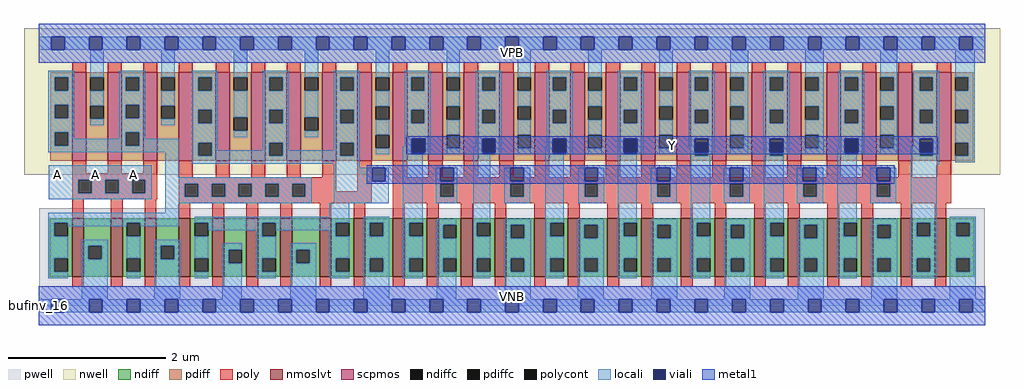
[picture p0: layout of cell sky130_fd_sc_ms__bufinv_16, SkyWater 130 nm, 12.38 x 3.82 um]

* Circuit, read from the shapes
.subckt sky130_fd_sc_ms__bufinv_16 A VGND VNB VPB VPWR Y
XM1 VGND A n1 VNB sky130_fd_pr__nfet_01v8_lvt w=0.74 l=0.15 m=3
XM2 n2 n1 VGND VNB sky130_fd_pr__nfet_01v8_lvt w=0.74 l=0.15 m=6
XM3 Y n2 VGND VNB sky130_fd_pr__nfet_01v8_lvt w=0.74 l=0.15 m=16
XM4 VPWR A n1 VPB sky130_fd_pr__pfet_01v8 w=1.12 l=0.18 m=3
XM5 n2 n1 VPWR VPB sky130_fd_pr__pfet_01v8 w=1.12 l=0.18 m=6
XM6 Y n2 VPWR VPB sky130_fd_pr__pfet_01v8 w=1.12 l=0.18 m=16
.ends

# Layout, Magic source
magic
tech sky130A
magscale 1 2
<< nwell >>
rect -38 332 2438 704
<< pwell >>
rect 1 49 2399 248
rect 0 0 2400 49
<< scpmos >>
rect 84 368 120 592
rect 174 368 210 592
rect 264 368 300 592
rect 354 368 390 592
rect 448 368 484 592
rect 538 368 574 592
rect 628 368 664 592
rect 718 368 754 592
rect 808 368 844 592
rect 898 368 934 592
rect 988 368 1024 592
rect 1078 368 1114 592
rect 1168 368 1204 592
rect 1258 368 1294 592
rect 1348 368 1384 592
rect 1438 368 1474 592
rect 1528 368 1564 592
rect 1618 368 1654 592
rect 1708 368 1744 592
rect 1808 368 1844 592
rect 1898 368 1934 592
rect 1998 368 2034 592
rect 2088 368 2124 592
rect 2180 368 2216 592
rect 2278 368 2314 592
<< nmoslvt >>
rect 84 74 114 222
rect 182 74 212 222
rect 268 74 298 222
rect 354 74 384 222
rect 440 74 470 222
rect 526 74 556 222
rect 612 74 642 222
rect 712 74 742 222
rect 798 74 828 222
rect 898 74 928 222
rect 984 74 1014 222
rect 1070 74 1100 222
rect 1156 74 1186 222
rect 1256 74 1286 222
rect 1342 74 1372 222
rect 1442 74 1472 222
rect 1528 74 1558 222
rect 1628 74 1658 222
rect 1714 74 1744 222
rect 1814 74 1844 222
rect 1900 74 1930 222
rect 2000 74 2030 222
rect 2086 74 2116 222
rect 2186 74 2216 222
rect 2272 74 2302 222
<< ndiff >>
rect 27 210 84 222
rect 27 176 39 210
rect 73 176 84 210
rect 27 120 84 176
rect 27 86 39 120
rect 73 86 84 120
rect 27 74 84 86
rect 114 152 182 222
rect 114 118 125 152
rect 159 118 182 152
rect 114 74 182 118
rect 212 210 268 222
rect 212 176 223 210
rect 257 176 268 210
rect 212 120 268 176
rect 212 86 223 120
rect 257 86 268 120
rect 212 74 268 86
rect 298 152 354 222
rect 298 118 309 152
rect 343 118 354 152
rect 298 74 354 118
rect 384 210 440 222
rect 384 176 395 210
rect 429 176 440 210
rect 384 120 440 176
rect 384 86 395 120
rect 429 86 440 120
rect 384 74 440 86
rect 470 142 526 222
rect 470 108 481 142
rect 515 108 526 142
rect 470 74 526 108
rect 556 210 612 222
rect 556 176 567 210
rect 601 176 612 210
rect 556 120 612 176
rect 556 86 567 120
rect 601 86 612 120
rect 556 74 612 86
rect 642 142 712 222
rect 642 108 653 142
rect 687 108 712 142
rect 642 74 712 108
rect 742 210 798 222
rect 742 176 753 210
rect 787 176 798 210
rect 742 120 798 176
rect 742 86 753 120
rect 787 86 798 120
rect 742 74 798 86
rect 828 210 898 222
rect 828 176 839 210
rect 873 176 898 210
rect 828 120 898 176
rect 828 86 839 120
rect 873 86 898 120
rect 828 74 898 86
rect 928 210 984 222
rect 928 176 939 210
rect 973 176 984 210
rect 928 120 984 176
rect 928 86 939 120
rect 973 86 984 120
rect 928 74 984 86
rect 1014 205 1070 222
rect 1014 171 1025 205
rect 1059 171 1070 205
rect 1014 120 1070 171
rect 1014 86 1025 120
rect 1059 86 1070 120
rect 1014 74 1070 86
rect 1100 210 1156 222
rect 1100 176 1111 210
rect 1145 176 1156 210
rect 1100 120 1156 176
rect 1100 86 1111 120
rect 1145 86 1156 120
rect 1100 74 1156 86
rect 1186 205 1256 222
rect 1186 171 1197 205
rect 1231 171 1256 205
rect 1186 120 1256 171
rect 1186 86 1197 120
rect 1231 86 1256 120
rect 1186 74 1256 86
rect 1286 210 1342 222
rect 1286 176 1297 210
rect 1331 176 1342 210
rect 1286 120 1342 176
rect 1286 86 1297 120
rect 1331 86 1342 120
rect 1286 74 1342 86
rect 1372 205 1442 222
rect 1372 171 1383 205
rect 1417 171 1442 205
rect 1372 120 1442 171
rect 1372 86 1383 120
rect 1417 86 1442 120
rect 1372 74 1442 86
rect 1472 210 1528 222
rect 1472 176 1483 210
rect 1517 176 1528 210
rect 1472 120 1528 176
rect 1472 86 1483 120
rect 1517 86 1528 120
rect 1472 74 1528 86
rect 1558 205 1628 222
rect 1558 171 1569 205
rect 1603 171 1628 205
rect 1558 120 1628 171
rect 1558 86 1569 120
rect 1603 86 1628 120
rect 1558 74 1628 86
rect 1658 210 1714 222
rect 1658 176 1669 210
rect 1703 176 1714 210
rect 1658 120 1714 176
rect 1658 86 1669 120
rect 1703 86 1714 120
rect 1658 74 1714 86
rect 1744 205 1814 222
rect 1744 171 1755 205
rect 1789 171 1814 205
rect 1744 120 1814 171
rect 1744 86 1755 120
rect 1789 86 1814 120
rect 1744 74 1814 86
rect 1844 210 1900 222
rect 1844 176 1855 210
rect 1889 176 1900 210
rect 1844 120 1900 176
rect 1844 86 1855 120
rect 1889 86 1900 120
rect 1844 74 1900 86
rect 1930 205 2000 222
rect 1930 171 1941 205
rect 1975 171 2000 205
rect 1930 120 2000 171
rect 1930 86 1941 120
rect 1975 86 2000 120
rect 1930 74 2000 86
rect 2030 210 2086 222
rect 2030 176 2041 210
rect 2075 176 2086 210
rect 2030 120 2086 176
rect 2030 86 2041 120
rect 2075 86 2086 120
rect 2030 74 2086 86
rect 2116 205 2186 222
rect 2116 171 2127 205
rect 2161 171 2186 205
rect 2116 120 2186 171
rect 2116 86 2127 120
rect 2161 86 2186 120
rect 2116 74 2186 86
rect 2216 210 2272 222
rect 2216 176 2227 210
rect 2261 176 2272 210
rect 2216 120 2272 176
rect 2216 86 2227 120
rect 2261 86 2272 120
rect 2216 74 2272 86
rect 2302 210 2373 222
rect 2302 176 2327 210
rect 2361 176 2373 210
rect 2302 120 2373 176
rect 2302 86 2327 120
rect 2361 86 2373 120
rect 2302 74 2373 86
<< pdiff >>
rect 28 580 84 592
rect 28 546 40 580
rect 74 546 84 580
rect 28 510 84 546
rect 28 476 40 510
rect 74 476 84 510
rect 28 440 84 476
rect 28 406 40 440
rect 74 406 84 440
rect 28 368 84 406
rect 120 580 174 592
rect 120 546 130 580
rect 164 546 174 580
rect 120 508 174 546
rect 120 474 130 508
rect 164 474 174 508
rect 120 368 174 474
rect 210 580 264 592
rect 210 546 220 580
rect 254 546 264 580
rect 210 510 264 546
rect 210 476 220 510
rect 254 476 264 510
rect 210 440 264 476
rect 210 406 220 440
rect 254 406 264 440
rect 210 368 264 406
rect 300 580 354 592
rect 300 546 310 580
rect 344 546 354 580
rect 300 508 354 546
rect 300 474 310 508
rect 344 474 354 508
rect 300 368 354 474
rect 390 580 448 592
rect 390 546 404 580
rect 438 546 448 580
rect 390 497 448 546
rect 390 463 404 497
rect 438 463 448 497
rect 390 414 448 463
rect 390 380 404 414
rect 438 380 448 414
rect 390 368 448 380
rect 484 580 538 592
rect 484 546 494 580
rect 528 546 538 580
rect 484 478 538 546
rect 484 444 494 478
rect 528 444 538 478
rect 484 368 538 444
rect 574 580 628 592
rect 574 546 584 580
rect 618 546 628 580
rect 574 497 628 546
rect 574 463 584 497
rect 618 463 628 497
rect 574 414 628 463
rect 574 380 584 414
rect 618 380 628 414
rect 574 368 628 380
rect 664 580 718 592
rect 664 546 674 580
rect 708 546 718 580
rect 664 478 718 546
rect 664 444 674 478
rect 708 444 718 478
rect 664 368 718 444
rect 754 580 808 592
rect 754 546 764 580
rect 798 546 808 580
rect 754 497 808 546
rect 754 463 764 497
rect 798 463 808 497
rect 754 414 808 463
rect 754 380 764 414
rect 798 380 808 414
rect 754 368 808 380
rect 844 580 898 592
rect 844 546 854 580
rect 888 546 898 580
rect 844 506 898 546
rect 844 472 854 506
rect 888 472 898 506
rect 844 434 898 472
rect 844 400 854 434
rect 888 400 898 434
rect 844 368 898 400
rect 934 580 988 592
rect 934 546 944 580
rect 978 546 988 580
rect 934 497 988 546
rect 934 463 944 497
rect 978 463 988 497
rect 934 418 988 463
rect 934 384 944 418
rect 978 384 988 418
rect 934 368 988 384
rect 1024 580 1078 592
rect 1024 546 1034 580
rect 1068 546 1078 580
rect 1024 506 1078 546
rect 1024 472 1034 506
rect 1068 472 1078 506
rect 1024 434 1078 472
rect 1024 400 1034 434
rect 1068 400 1078 434
rect 1024 368 1078 400
rect 1114 580 1168 592
rect 1114 546 1124 580
rect 1158 546 1168 580
rect 1114 497 1168 546
rect 1114 463 1124 497
rect 1158 463 1168 497
rect 1114 418 1168 463
rect 1114 384 1124 418
rect 1158 384 1168 418
rect 1114 368 1168 384
rect 1204 580 1258 592
rect 1204 546 1214 580
rect 1248 546 1258 580
rect 1204 506 1258 546
rect 1204 472 1214 506
rect 1248 472 1258 506
rect 1204 434 1258 472
rect 1204 400 1214 434
rect 1248 400 1258 434
rect 1204 368 1258 400
rect 1294 580 1348 592
rect 1294 546 1304 580
rect 1338 546 1348 580
rect 1294 497 1348 546
rect 1294 463 1304 497
rect 1338 463 1348 497
rect 1294 418 1348 463
rect 1294 384 1304 418
rect 1338 384 1348 418
rect 1294 368 1348 384
rect 1384 580 1438 592
rect 1384 546 1394 580
rect 1428 546 1438 580
rect 1384 506 1438 546
rect 1384 472 1394 506
rect 1428 472 1438 506
rect 1384 434 1438 472
rect 1384 400 1394 434
rect 1428 400 1438 434
rect 1384 368 1438 400
rect 1474 580 1528 592
rect 1474 546 1484 580
rect 1518 546 1528 580
rect 1474 497 1528 546
rect 1474 463 1484 497
rect 1518 463 1528 497
rect 1474 418 1528 463
rect 1474 384 1484 418
rect 1518 384 1528 418
rect 1474 368 1528 384
rect 1564 580 1618 592
rect 1564 546 1574 580
rect 1608 546 1618 580
rect 1564 506 1618 546
rect 1564 472 1574 506
rect 1608 472 1618 506
rect 1564 434 1618 472
rect 1564 400 1574 434
rect 1608 400 1618 434
rect 1564 368 1618 400
rect 1654 580 1708 592
rect 1654 546 1664 580
rect 1698 546 1708 580
rect 1654 497 1708 546
rect 1654 463 1664 497
rect 1698 463 1708 497
rect 1654 414 1708 463
rect 1654 380 1664 414
rect 1698 380 1708 414
rect 1654 368 1708 380
rect 1744 580 1808 592
rect 1744 546 1754 580
rect 1788 546 1808 580
rect 1744 506 1808 546
rect 1744 472 1754 506
rect 1788 472 1808 506
rect 1744 434 1808 472
rect 1744 400 1754 434
rect 1788 400 1808 434
rect 1744 368 1808 400
rect 1844 580 1898 592
rect 1844 546 1854 580
rect 1888 546 1898 580
rect 1844 497 1898 546
rect 1844 463 1854 497
rect 1888 463 1898 497
rect 1844 414 1898 463
rect 1844 380 1854 414
rect 1888 380 1898 414
rect 1844 368 1898 380
rect 1934 580 1998 592
rect 1934 546 1944 580
rect 1978 546 1998 580
rect 1934 506 1998 546
rect 1934 472 1944 506
rect 1978 472 1998 506
rect 1934 434 1998 472
rect 1934 400 1944 434
rect 1978 400 1998 434
rect 1934 368 1998 400
rect 2034 580 2088 592
rect 2034 546 2044 580
rect 2078 546 2088 580
rect 2034 497 2088 546
rect 2034 463 2044 497
rect 2078 463 2088 497
rect 2034 418 2088 463
rect 2034 384 2044 418
rect 2078 384 2088 418
rect 2034 368 2088 384
rect 2124 580 2180 592
rect 2124 546 2134 580
rect 2168 546 2180 580
rect 2124 506 2180 546
rect 2124 472 2134 506
rect 2168 472 2180 506
rect 2124 434 2180 472
rect 2124 400 2134 434
rect 2168 400 2180 434
rect 2124 368 2180 400
rect 2216 580 2278 592
rect 2216 546 2234 580
rect 2268 546 2278 580
rect 2216 497 2278 546
rect 2216 463 2234 497
rect 2268 463 2278 497
rect 2216 414 2278 463
rect 2216 380 2234 414
rect 2268 380 2278 414
rect 2216 368 2278 380
rect 2314 580 2370 592
rect 2314 546 2324 580
rect 2358 546 2370 580
rect 2314 497 2370 546
rect 2314 463 2324 497
rect 2358 463 2370 497
rect 2314 414 2370 463
rect 2314 380 2324 414
rect 2358 380 2370 414
rect 2314 368 2370 380
<< ndiffc >>
rect 39 176 73 210
rect 39 86 73 120
rect 125 118 159 152
rect 223 176 257 210
rect 223 86 257 120
rect 309 118 343 152
rect 395 176 429 210
rect 395 86 429 120
rect 481 108 515 142
rect 567 176 601 210
rect 567 86 601 120
rect 653 108 687 142
rect 753 176 787 210
rect 753 86 787 120
rect 839 176 873 210
rect 839 86 873 120
rect 939 176 973 210
rect 939 86 973 120
rect 1025 171 1059 205
rect 1025 86 1059 120
rect 1111 176 1145 210
rect 1111 86 1145 120
rect 1197 171 1231 205
rect 1197 86 1231 120
rect 1297 176 1331 210
rect 1297 86 1331 120
rect 1383 171 1417 205
rect 1383 86 1417 120
rect 1483 176 1517 210
rect 1483 86 1517 120
rect 1569 171 1603 205
rect 1569 86 1603 120
rect 1669 176 1703 210
rect 1669 86 1703 120
rect 1755 171 1789 205
rect 1755 86 1789 120
rect 1855 176 1889 210
rect 1855 86 1889 120
rect 1941 171 1975 205
rect 1941 86 1975 120
rect 2041 176 2075 210
rect 2041 86 2075 120
rect 2127 171 2161 205
rect 2127 86 2161 120
rect 2227 176 2261 210
rect 2227 86 2261 120
rect 2327 176 2361 210
rect 2327 86 2361 120
<< pdiffc >>
rect 40 546 74 580
rect 40 476 74 510
rect 40 406 74 440
rect 130 546 164 580
rect 130 474 164 508
rect 220 546 254 580
rect 220 476 254 510
rect 220 406 254 440
rect 310 546 344 580
rect 310 474 344 508
rect 404 546 438 580
rect 404 463 438 497
rect 404 380 438 414
rect 494 546 528 580
rect 494 444 528 478
rect 584 546 618 580
rect 584 463 618 497
rect 584 380 618 414
rect 674 546 708 580
rect 674 444 708 478
rect 764 546 798 580
rect 764 463 798 497
rect 764 380 798 414
rect 854 546 888 580
rect 854 472 888 506
rect 854 400 888 434
rect 944 546 978 580
rect 944 463 978 497
rect 944 384 978 418
rect 1034 546 1068 580
rect 1034 472 1068 506
rect 1034 400 1068 434
rect 1124 546 1158 580
rect 1124 463 1158 497
rect 1124 384 1158 418
rect 1214 546 1248 580
rect 1214 472 1248 506
rect 1214 400 1248 434
rect 1304 546 1338 580
rect 1304 463 1338 497
rect 1304 384 1338 418
rect 1394 546 1428 580
rect 1394 472 1428 506
rect 1394 400 1428 434
rect 1484 546 1518 580
rect 1484 463 1518 497
rect 1484 384 1518 418
rect 1574 546 1608 580
rect 1574 472 1608 506
rect 1574 400 1608 434
rect 1664 546 1698 580
rect 1664 463 1698 497
rect 1664 380 1698 414
rect 1754 546 1788 580
rect 1754 472 1788 506
rect 1754 400 1788 434
rect 1854 546 1888 580
rect 1854 463 1888 497
rect 1854 380 1888 414
rect 1944 546 1978 580
rect 1944 472 1978 506
rect 1944 400 1978 434
rect 2044 546 2078 580
rect 2044 463 2078 497
rect 2044 384 2078 418
rect 2134 546 2168 580
rect 2134 472 2168 506
rect 2134 400 2168 434
rect 2234 546 2268 580
rect 2234 463 2268 497
rect 2234 380 2268 414
rect 2324 546 2358 580
rect 2324 463 2358 497
rect 2324 380 2358 414
<< poly >>
rect 84 592 120 618
rect 174 592 210 618
rect 264 592 300 618
rect 354 592 390 618
rect 448 592 484 618
rect 538 592 574 618
rect 628 592 664 618
rect 718 592 754 618
rect 808 592 844 618
rect 898 592 934 618
rect 988 592 1024 618
rect 1078 592 1114 618
rect 1168 592 1204 618
rect 1258 592 1294 618
rect 1348 592 1384 618
rect 1438 592 1474 618
rect 1528 592 1564 618
rect 1618 592 1654 618
rect 1708 592 1744 618
rect 1808 592 1844 618
rect 1898 592 1934 618
rect 1998 592 2034 618
rect 2088 592 2124 618
rect 2180 592 2216 618
rect 2278 592 2314 618
rect 84 336 120 368
rect 174 336 210 368
rect 264 336 300 368
rect 84 320 300 336
rect 84 286 100 320
rect 134 286 168 320
rect 202 286 236 320
rect 270 286 300 320
rect 84 270 300 286
rect 354 326 390 368
rect 448 326 484 368
rect 538 326 574 368
rect 628 326 664 368
rect 718 326 754 368
rect 354 310 754 326
rect 354 276 370 310
rect 404 276 438 310
rect 472 276 506 310
rect 540 276 574 310
rect 608 276 642 310
rect 676 290 754 310
rect 808 290 844 368
rect 676 276 844 290
rect 84 222 114 270
rect 182 222 212 270
rect 268 222 298 270
rect 354 260 844 276
rect 898 326 934 368
rect 988 326 1024 368
rect 1078 326 1114 368
rect 1168 326 1204 368
rect 1258 326 1294 368
rect 1348 326 1384 368
rect 1438 326 1474 368
rect 1528 326 1564 368
rect 1618 326 1654 368
rect 1708 326 1744 368
rect 1808 326 1844 368
rect 1898 326 1934 368
rect 1998 326 2034 368
rect 2088 326 2124 368
rect 2180 326 2216 368
rect 2278 326 2314 368
rect 898 310 2314 326
rect 898 276 1018 310
rect 1052 276 1196 310
rect 1230 276 1384 310
rect 1418 276 1568 310
rect 1602 276 1753 310
rect 1787 276 1939 310
rect 1973 276 2125 310
rect 2159 276 2314 310
rect 898 260 2314 276
rect 354 222 384 260
rect 440 222 470 260
rect 526 222 556 260
rect 612 222 642 260
rect 712 222 742 260
rect 798 222 828 260
rect 898 222 928 260
rect 984 222 1014 260
rect 1070 222 1100 260
rect 1156 222 1186 260
rect 1256 222 1286 260
rect 1342 222 1372 260
rect 1442 222 1472 260
rect 1528 222 1558 260
rect 1628 222 1658 260
rect 1714 222 1744 260
rect 1814 222 1844 260
rect 1900 222 1930 260
rect 2000 222 2030 260
rect 2086 222 2116 260
rect 2186 222 2216 260
rect 2272 222 2302 260
rect 84 48 114 74
rect 182 48 212 74
rect 268 48 298 74
rect 354 48 384 74
rect 440 48 470 74
rect 526 48 556 74
rect 612 48 642 74
rect 712 48 742 74
rect 798 48 828 74
rect 898 48 928 74
rect 984 48 1014 74
rect 1070 48 1100 74
rect 1156 48 1186 74
rect 1256 48 1286 74
rect 1342 48 1372 74
rect 1442 48 1472 74
rect 1528 48 1558 74
rect 1628 48 1658 74
rect 1714 48 1744 74
rect 1814 48 1844 74
rect 1900 48 1930 74
rect 2000 48 2030 74
rect 2086 48 2116 74
rect 2186 48 2216 74
rect 2272 48 2302 74
<< polycont >>
rect 100 286 134 320
rect 168 286 202 320
rect 236 286 270 320
rect 370 276 404 310
rect 438 276 472 310
rect 506 276 540 310
rect 574 276 608 310
rect 642 276 676 310
rect 1018 276 1052 310
rect 1196 276 1230 310
rect 1384 276 1418 310
rect 1568 276 1602 310
rect 1753 276 1787 310
rect 1939 276 1973 310
rect 2125 276 2159 310
<< locali >>
rect 0 649 31 683
rect 65 649 127 683
rect 161 649 223 683
rect 257 649 319 683
rect 353 649 415 683
rect 449 649 511 683
rect 545 649 607 683
rect 641 649 703 683
rect 737 649 799 683
rect 833 649 895 683
rect 929 649 991 683
rect 1025 649 1087 683
rect 1121 649 1183 683
rect 1217 649 1279 683
rect 1313 649 1375 683
rect 1409 649 1471 683
rect 1505 649 1567 683
rect 1601 649 1663 683
rect 1697 649 1759 683
rect 1793 649 1855 683
rect 1889 649 1951 683
rect 1985 649 2047 683
rect 2081 649 2143 683
rect 2177 649 2239 683
rect 2273 649 2335 683
rect 2369 649 2400 683
rect 24 580 90 596
rect 24 546 40 580
rect 74 546 90 580
rect 24 510 90 546
rect 24 476 40 510
rect 74 476 90 510
rect 24 440 90 476
rect 130 580 164 649
rect 130 508 164 546
rect 130 458 164 474
rect 204 580 270 596
rect 204 546 220 580
rect 254 546 270 580
rect 204 510 270 546
rect 204 476 220 510
rect 254 476 270 510
rect 24 406 40 440
rect 74 424 90 440
rect 204 440 270 476
rect 310 580 344 649
rect 310 508 344 546
rect 310 458 344 474
rect 388 580 454 596
rect 388 546 404 580
rect 438 546 454 580
rect 388 497 454 546
rect 388 463 404 497
rect 438 463 454 497
rect 204 424 220 440
rect 74 406 220 424
rect 254 424 270 440
rect 254 406 354 424
rect 24 390 354 406
rect 25 320 286 356
rect 25 286 100 320
rect 134 286 168 320
rect 202 286 236 320
rect 270 286 286 320
rect 25 270 286 286
rect 320 326 354 390
rect 388 414 454 463
rect 494 580 528 649
rect 494 478 528 546
rect 494 428 528 444
rect 568 580 634 596
rect 568 546 584 580
rect 618 546 634 580
rect 568 497 634 546
rect 568 463 584 497
rect 618 463 634 497
rect 388 380 404 414
rect 438 394 454 414
rect 568 414 634 463
rect 674 580 708 649
rect 674 478 708 546
rect 674 428 708 444
rect 748 580 814 596
rect 748 546 764 580
rect 798 546 814 580
rect 748 497 814 546
rect 748 463 764 497
rect 798 463 814 497
rect 568 394 584 414
rect 438 380 584 394
rect 618 394 634 414
rect 748 414 814 463
rect 748 394 764 414
rect 618 380 764 394
rect 798 380 814 414
rect 854 580 888 649
rect 854 506 888 546
rect 854 434 888 472
rect 928 580 994 596
rect 928 546 944 580
rect 978 546 994 580
rect 928 497 994 546
rect 928 463 944 497
rect 978 463 994 497
rect 928 424 994 463
rect 928 418 946 424
rect 928 404 944 418
rect 854 384 888 400
rect 923 384 944 404
rect 980 390 994 424
rect 978 384 994 390
rect 1034 580 1068 649
rect 1034 506 1068 546
rect 1034 434 1068 472
rect 1108 580 1174 596
rect 1108 546 1124 580
rect 1158 546 1174 580
rect 1108 497 1174 546
rect 1108 463 1124 497
rect 1158 463 1174 497
rect 1108 424 1174 463
rect 1108 404 1124 424
rect 1034 384 1068 400
rect 1102 384 1124 404
rect 1158 384 1174 424
rect 1214 580 1248 649
rect 1214 506 1248 546
rect 1214 434 1248 472
rect 1288 580 1354 596
rect 1288 546 1304 580
rect 1338 546 1354 580
rect 1288 497 1354 546
rect 1288 463 1304 497
rect 1338 463 1354 497
rect 1288 424 1354 463
rect 1288 404 1304 424
rect 1214 384 1248 400
rect 1284 384 1304 404
rect 1338 384 1354 424
rect 1394 580 1428 649
rect 1394 506 1428 546
rect 1394 434 1428 472
rect 1394 384 1428 400
rect 1468 580 1534 596
rect 1468 546 1484 580
rect 1518 546 1534 580
rect 1468 497 1534 546
rect 1468 463 1484 497
rect 1518 463 1534 497
rect 1468 424 1534 463
rect 1468 384 1484 424
rect 1518 384 1534 424
rect 1574 580 1608 649
rect 1574 506 1608 546
rect 1574 434 1608 472
rect 1648 580 1714 596
rect 1648 546 1664 580
rect 1698 546 1714 580
rect 1648 497 1714 546
rect 1648 463 1664 497
rect 1698 463 1714 497
rect 1648 424 1714 463
rect 1648 404 1664 424
rect 1574 384 1608 400
rect 388 360 814 380
rect 748 350 814 360
rect 320 310 692 326
rect 320 276 370 310
rect 404 276 438 310
rect 472 276 506 310
rect 540 276 574 310
rect 608 276 642 310
rect 676 276 692 310
rect 320 260 692 276
rect 748 316 845 350
rect 879 316 887 350
rect 748 260 887 316
rect 320 236 354 260
rect 23 210 354 236
rect 737 226 787 260
rect 23 176 39 210
rect 73 202 223 210
rect 23 120 73 176
rect 257 202 354 210
rect 395 210 787 226
rect 23 86 39 120
rect 23 70 73 86
rect 109 152 175 168
rect 109 118 125 152
rect 159 118 175 152
rect 109 17 175 118
rect 223 120 257 176
rect 429 192 567 210
rect 223 70 257 86
rect 293 152 359 168
rect 293 118 309 152
rect 343 118 359 152
rect 293 17 359 118
rect 395 120 429 176
rect 551 176 567 192
rect 601 192 753 210
rect 395 70 429 86
rect 465 142 515 158
rect 465 108 481 142
rect 465 17 515 108
rect 551 120 601 176
rect 737 176 753 192
rect 551 86 567 120
rect 551 70 601 86
rect 637 142 703 158
rect 637 108 653 142
rect 687 108 703 142
rect 637 17 703 108
rect 737 120 787 176
rect 737 86 753 120
rect 737 70 787 86
rect 823 210 889 226
rect 823 176 839 210
rect 873 176 889 210
rect 823 120 889 176
rect 823 86 839 120
rect 873 86 889 120
rect 823 17 889 86
rect 923 210 973 384
rect 1007 316 1018 350
rect 1052 316 1061 350
rect 1007 310 1061 316
rect 1007 276 1018 310
rect 1052 276 1061 310
rect 1007 260 1061 276
rect 923 176 939 210
rect 923 120 973 176
rect 923 86 939 120
rect 923 70 973 86
rect 1009 205 1059 221
rect 1009 171 1025 205
rect 1009 120 1059 171
rect 1009 86 1025 120
rect 1009 17 1059 86
rect 1102 210 1145 384
rect 1180 316 1196 350
rect 1230 316 1246 350
rect 1180 310 1246 316
rect 1180 276 1196 310
rect 1230 276 1246 310
rect 1180 260 1246 276
rect 1102 176 1111 210
rect 1102 120 1145 176
rect 1102 86 1111 120
rect 1102 70 1145 86
rect 1181 205 1247 221
rect 1181 171 1197 205
rect 1231 171 1247 205
rect 1181 120 1247 171
rect 1181 86 1197 120
rect 1231 86 1247 120
rect 1181 17 1247 86
rect 1284 210 1331 384
rect 1368 316 1384 350
rect 1418 316 1434 350
rect 1368 310 1434 316
rect 1368 276 1384 310
rect 1418 276 1434 310
rect 1368 260 1434 276
rect 1284 176 1297 210
rect 1284 120 1331 176
rect 1284 86 1297 120
rect 1284 70 1331 86
rect 1367 205 1433 221
rect 1367 171 1383 205
rect 1417 171 1433 205
rect 1367 120 1433 171
rect 1367 86 1383 120
rect 1417 86 1433 120
rect 1367 17 1433 86
rect 1468 210 1517 384
rect 1653 380 1664 404
rect 1698 384 1714 424
rect 1754 580 1799 649
rect 1788 546 1799 580
rect 1754 506 1799 546
rect 1788 472 1799 506
rect 1754 434 1799 472
rect 1788 400 1799 434
rect 1838 580 1904 596
rect 1838 546 1854 580
rect 1888 546 1904 580
rect 1838 497 1904 546
rect 1838 463 1854 497
rect 1888 463 1904 497
rect 1838 424 1904 463
rect 1838 404 1854 424
rect 1754 384 1799 400
rect 1698 380 1703 384
rect 1552 316 1567 350
rect 1601 316 1618 350
rect 1552 310 1618 316
rect 1552 276 1568 310
rect 1602 276 1618 310
rect 1552 260 1618 276
rect 1468 176 1483 210
rect 1468 120 1517 176
rect 1468 86 1483 120
rect 1468 70 1517 86
rect 1553 205 1619 221
rect 1553 171 1569 205
rect 1603 171 1619 205
rect 1553 120 1619 171
rect 1553 86 1569 120
rect 1603 86 1619 120
rect 1553 17 1619 86
rect 1653 210 1703 380
rect 1839 380 1854 404
rect 1888 384 1904 424
rect 1944 580 1991 649
rect 1978 546 1991 580
rect 1944 506 1991 546
rect 1978 472 1991 506
rect 1944 434 1991 472
rect 1978 400 1991 434
rect 2028 580 2094 596
rect 2028 546 2044 580
rect 2078 546 2094 580
rect 2028 497 2094 546
rect 2028 463 2044 497
rect 2078 463 2094 497
rect 2028 424 2094 463
rect 2028 404 2044 424
rect 1944 384 1991 400
rect 2025 384 2044 404
rect 2078 384 2094 424
rect 2134 580 2177 649
rect 2168 546 2177 580
rect 2134 506 2177 546
rect 2168 472 2177 506
rect 2134 434 2177 472
rect 2168 400 2177 434
rect 2218 580 2284 596
rect 2218 546 2234 580
rect 2268 546 2284 580
rect 2218 497 2284 546
rect 2218 463 2234 497
rect 2268 463 2284 497
rect 2218 424 2284 463
rect 2218 404 2234 424
rect 2134 384 2177 400
rect 1888 380 1889 384
rect 1737 316 1753 350
rect 1787 316 1803 350
rect 1737 310 1803 316
rect 1737 276 1753 310
rect 1787 276 1803 310
rect 1737 260 1803 276
rect 1653 176 1669 210
rect 1653 120 1703 176
rect 1653 86 1669 120
rect 1653 70 1703 86
rect 1739 205 1805 221
rect 1739 171 1755 205
rect 1789 171 1805 205
rect 1739 120 1805 171
rect 1739 86 1755 120
rect 1789 86 1805 120
rect 1739 17 1805 86
rect 1839 210 1889 380
rect 1923 316 1938 350
rect 1972 316 1989 350
rect 1923 310 1989 316
rect 1923 276 1939 310
rect 1973 276 1989 310
rect 1923 260 1989 276
rect 1839 176 1855 210
rect 1839 120 1889 176
rect 1839 86 1855 120
rect 1839 70 1889 86
rect 1925 205 1991 221
rect 1925 171 1941 205
rect 1975 171 1991 205
rect 1925 120 1991 171
rect 1925 86 1941 120
rect 1975 86 1991 120
rect 1925 17 1991 86
rect 2025 210 2075 384
rect 2211 380 2234 404
rect 2268 380 2284 424
rect 2211 358 2284 380
rect 2324 580 2374 649
rect 2358 546 2374 580
rect 2324 497 2374 546
rect 2358 463 2374 497
rect 2324 414 2374 463
rect 2358 380 2374 414
rect 2324 364 2374 380
rect 2109 316 2125 350
rect 2159 316 2175 350
rect 2109 310 2175 316
rect 2109 276 2125 310
rect 2159 276 2175 310
rect 2109 260 2175 276
rect 2025 176 2041 210
rect 2025 120 2075 176
rect 2025 86 2041 120
rect 2025 70 2075 86
rect 2111 205 2177 221
rect 2111 171 2127 205
rect 2161 171 2177 205
rect 2111 120 2177 171
rect 2111 86 2127 120
rect 2161 86 2177 120
rect 2111 17 2177 86
rect 2211 210 2277 358
rect 2211 176 2227 210
rect 2261 176 2277 210
rect 2211 120 2277 176
rect 2211 86 2227 120
rect 2261 86 2277 120
rect 2211 70 2277 86
rect 2311 210 2377 226
rect 2311 176 2327 210
rect 2361 176 2377 210
rect 2311 120 2377 176
rect 2311 86 2327 120
rect 2361 86 2377 120
rect 2311 17 2377 86
rect 0 -17 31 17
rect 65 -17 127 17
rect 161 -17 223 17
rect 257 -17 319 17
rect 353 -17 415 17
rect 449 -17 511 17
rect 545 -17 607 17
rect 641 -17 703 17
rect 737 -17 799 17
rect 833 -17 895 17
rect 929 -17 991 17
rect 1025 -17 1087 17
rect 1121 -17 1183 17
rect 1217 -17 1279 17
rect 1313 -17 1375 17
rect 1409 -17 1471 17
rect 1505 -17 1567 17
rect 1601 -17 1663 17
rect 1697 -17 1759 17
rect 1793 -17 1855 17
rect 1889 -17 1951 17
rect 1985 -17 2047 17
rect 2081 -17 2143 17
rect 2177 -17 2239 17
rect 2273 -17 2335 17
rect 2369 -17 2400 17
<< viali >>
rect 31 649 65 683
rect 127 649 161 683
rect 223 649 257 683
rect 319 649 353 683
rect 415 649 449 683
rect 511 649 545 683
rect 607 649 641 683
rect 703 649 737 683
rect 799 649 833 683
rect 895 649 929 683
rect 991 649 1025 683
rect 1087 649 1121 683
rect 1183 649 1217 683
rect 1279 649 1313 683
rect 1375 649 1409 683
rect 1471 649 1505 683
rect 1567 649 1601 683
rect 1663 649 1697 683
rect 1759 649 1793 683
rect 1855 649 1889 683
rect 1951 649 1985 683
rect 2047 649 2081 683
rect 2143 649 2177 683
rect 2239 649 2273 683
rect 2335 649 2369 683
rect 946 418 980 424
rect 946 390 978 418
rect 978 390 980 418
rect 1124 418 1158 424
rect 1124 390 1158 418
rect 1304 418 1338 424
rect 1304 390 1338 418
rect 1484 418 1518 424
rect 1484 390 1518 418
rect 1664 414 1698 424
rect 845 316 879 350
rect 1018 316 1052 350
rect 1196 316 1230 350
rect 1384 316 1418 350
rect 1664 390 1698 414
rect 1854 414 1888 424
rect 1567 316 1601 350
rect 1854 390 1888 414
rect 2044 418 2078 424
rect 2044 390 2078 418
rect 2234 414 2268 424
rect 1753 316 1787 350
rect 1938 316 1972 350
rect 2234 390 2268 414
rect 2125 316 2159 350
rect 31 -17 65 17
rect 127 -17 161 17
rect 223 -17 257 17
rect 319 -17 353 17
rect 415 -17 449 17
rect 511 -17 545 17
rect 607 -17 641 17
rect 703 -17 737 17
rect 799 -17 833 17
rect 895 -17 929 17
rect 991 -17 1025 17
rect 1087 -17 1121 17
rect 1183 -17 1217 17
rect 1279 -17 1313 17
rect 1375 -17 1409 17
rect 1471 -17 1505 17
rect 1567 -17 1601 17
rect 1663 -17 1697 17
rect 1759 -17 1793 17
rect 1855 -17 1889 17
rect 1951 -17 1985 17
rect 2047 -17 2081 17
rect 2143 -17 2177 17
rect 2239 -17 2273 17
rect 2335 -17 2369 17
<< metal1 >>
rect 0 683 2400 715
rect 0 649 31 683
rect 65 649 127 683
rect 161 649 223 683
rect 257 649 319 683
rect 353 649 415 683
rect 449 649 511 683
rect 545 649 607 683
rect 641 649 703 683
rect 737 649 799 683
rect 833 649 895 683
rect 929 649 991 683
rect 1025 649 1087 683
rect 1121 649 1183 683
rect 1217 649 1279 683
rect 1313 649 1375 683
rect 1409 649 1471 683
rect 1505 649 1567 683
rect 1601 649 1663 683
rect 1697 649 1759 683
rect 1793 649 1855 683
rect 1889 649 1951 683
rect 1985 649 2047 683
rect 2081 649 2143 683
rect 2177 649 2239 683
rect 2273 649 2335 683
rect 2369 649 2400 683
rect 0 617 2400 649
rect 932 424 2280 430
rect 932 390 946 424
rect 980 390 1124 424
rect 1158 390 1304 424
rect 1338 390 1484 424
rect 1518 390 1664 424
rect 1698 390 1854 424
rect 1888 390 2044 424
rect 2078 390 2234 424
rect 2268 390 2280 424
rect 932 384 2280 390
rect 831 350 2171 356
rect 831 316 845 350
rect 879 316 1018 350
rect 1052 316 1196 350
rect 1230 316 1384 350
rect 1418 316 1567 350
rect 1601 316 1753 350
rect 1787 316 1938 350
rect 1972 316 2125 350
rect 2159 316 2171 350
rect 831 310 2171 316
rect 0 17 2400 49
rect 0 -17 31 17
rect 65 -17 127 17
rect 161 -17 223 17
rect 257 -17 319 17
rect 353 -17 415 17
rect 449 -17 511 17
rect 545 -17 607 17
rect 641 -17 703 17
rect 737 -17 799 17
rect 833 -17 895 17
rect 929 -17 991 17
rect 1025 -17 1087 17
rect 1121 -17 1183 17
rect 1217 -17 1279 17
rect 1313 -17 1375 17
rect 1409 -17 1471 17
rect 1505 -17 1567 17
rect 1601 -17 1663 17
rect 1697 -17 1759 17
rect 1793 -17 1855 17
rect 1889 -17 1951 17
rect 1985 -17 2047 17
rect 2081 -17 2143 17
rect 2177 -17 2239 17
rect 2273 -17 2335 17
rect 2369 -17 2400 17
rect 0 -49 2400 -17
<< labels >>
flabel pwell s 0 0 2400 49 0 FreeSans 200 0 0 0 VNB
port 3 nsew ground bidirectional
flabel nwell s 0 617 2400 666 0 FreeSans 200 0 0 0 VPB
port 4 nsew power bidirectional
rlabel comment s 0 0 0 0 4 bufinv_16
flabel metal1 s 932 384 2280 430 0 FreeSans 400 0 0 0 Y
port 6 nsew signal output
flabel metal1 s 0 617 2400 666 0 FreeSans 340 0 0 0 VPWR
port 5 nsew power bidirectional
flabel metal1 s 0 0 2400 49 0 FreeSans 340 0 0 0 VGND
port 2 nsew ground bidirectional
flabel locali s 31 316 65 350 0 FreeSans 340 0 0 0 A
port 1 nsew signal input
flabel locali s 127 316 161 350 0 FreeSans 340 0 0 0 A
port 1 nsew signal input
flabel locali s 223 316 257 350 0 FreeSans 340 0 0 0 A
port 1 nsew signal input
<< properties >>
string LEFsite unit
string LEFclass CORE
string FIXED_BBOX 0 0 2400 666
string GDS_FILE $PDKPATH/libs.ref/sky130_fd_sc_ms/gds/sky130_fd_sc_ms.gds
string LEFsymmetry X Y
string GDS_END 678586
string GDS_START 659266
<< end >>
